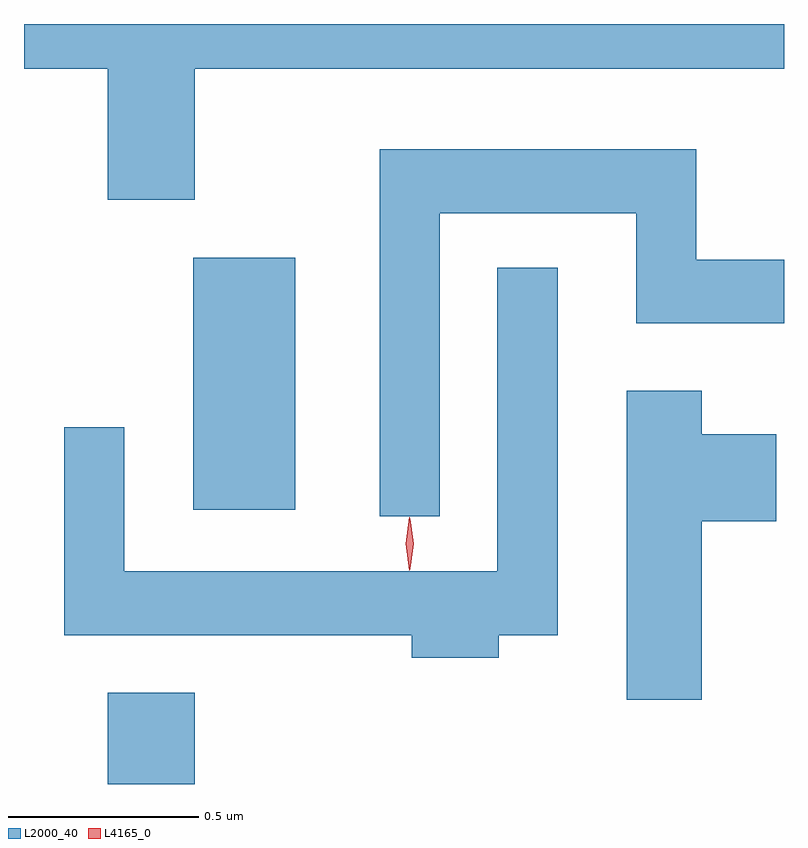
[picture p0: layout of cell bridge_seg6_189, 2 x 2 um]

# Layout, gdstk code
import gdstk
lib = gdstk.Library(unit=1e-6, precision=1e-09)
def R(c, l, rs):  # rectangles x0, y0, x1, y1
    for r in rs: c.add(gdstk.rectangle(r[:2], r[2:], *l))
def P(c, l, *ps):  # polygons
    for p in ps: c.add(gdstk.Polygon(p, *l))
L2000_40 = (2000, 40)
L4165_0 = (4165, 0)

bridge_seg6_189 = lib.new_cell('bridge_seg6_189')
R(bridge_seg6_189, L2000_40, [(1076.031,1588.114,1076.259,1588.354), (1076.256,1588.836,1076.524,1589.499)])
P(bridge_seg6_189, L2000_40, [(1076.259,1589.996),(1077.81,1589.996),(1077.81,1590.114),(1075.81,1590.114),(1075.81,1589.996),(1076.031,1589.996),(1076.031,1589.651),(1076.259,1589.651)],
  [(1076.904,1589.616),(1077.421,1589.616),(1077.421,1589.326),(1077.81,1589.326),(1077.81,1589.494),(1077.579,1589.494),(1077.579,1589.784),(1076.746,1589.784),(1076.746,1588.818),(1076.904,1588.818)],
  [(1077.059,1588.506),(1077.214,1588.506),(1077.214,1589.473),(1077.056,1589.473),(1077.056,1588.674),(1076.074,1588.674),(1076.074,1589.053),(1075.916,1589.053),(1075.916,1588.506),(1076.831,1588.506),(1076.831,1588.446),(1077.059,1588.446)],
  [(1077.594,1588.806),(1077.789,1588.806),(1077.789,1589.034),(1077.594,1589.034),(1077.594,1589.149),(1077.396,1589.149),(1077.396,1588.336),(1077.594,1588.336)])
P(bridge_seg6_189, L4165_0, [(1076.826,1588.679),(1076.825,1588.68),(1076.816,1588.746),(1076.825,1588.812),(1076.825,1588.813),(1076.826,1588.812),(1076.836,1588.746),(1076.826,1588.68)],
  [(1076.824,1588.677),(1076.815,1588.746),(1076.824,1588.816),(1076.825,1588.816),(1076.825,1588.816),(1076.835,1588.746),(1076.825,1588.677),(1076.825,1588.677)])

lib.write_gds('bridge_seg6_189.gds')
